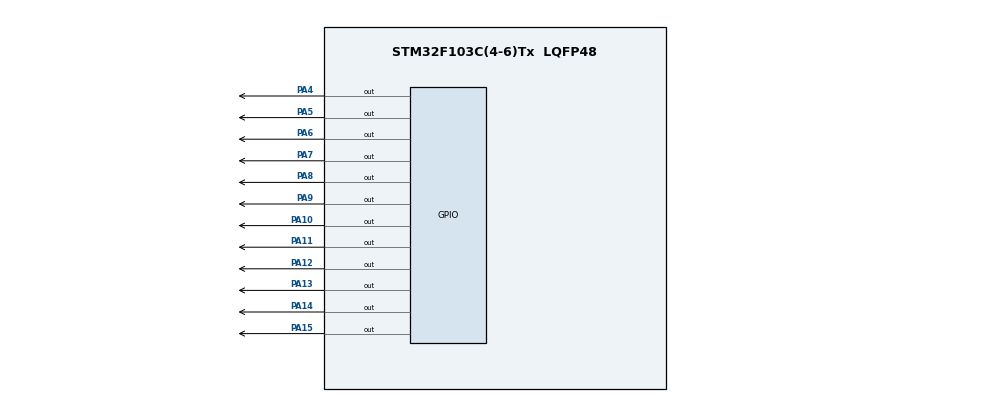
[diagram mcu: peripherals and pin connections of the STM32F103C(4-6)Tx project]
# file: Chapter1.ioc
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Mcu.Family=STM32F1
Mcu.Name=STM32F103C(4-6)Tx
Mcu.Package=LQFP48
NVIC.PriorityGroup=NVIC_PRIORITYGROUP_4
PA10.Signal=GPIO_Output
PA11.Signal=GPIO_Output
PA12.Signal=GPIO_Output
PA13.Signal=GPIO_Output
PA14.Signal=GPIO_Output
PA15.Signal=GPIO_Output
PA4.Signal=GPIO_Output
PA5.Signal=GPIO_Output
PA6.Signal=GPIO_Output
PA7.Signal=GPIO_Output
PA8.Signal=GPIO_Output
PA9.Signal=GPIO_Output
ProjectManager.HeapSize=0x200
ProjectManager.StackSize=0x400
ProjectManager.TargetToolchain=STM32CubeIDE
RCC.APB1Freq_Value=8000000
RCC.APB2Freq_Value=8000000
VP_SYS_VS_ND.Mode=No_Debug
board=custom

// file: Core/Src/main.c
/* USER CODE BEGIN Header */
/**
  ******************************************************************************
  * @file           : main.c
  * @brief          : Main program body
  ******************************************************************************
  * @attention
  *
  * <h2><center>&copy; Copyright (c) 2021 STMicroelectronics.
  * All rights reserved.</center></h2>
  *
  * This software component is licensed by ST under BSD 3-Clause license,
  * the "License"; You may not use this file except in compliance with the
  * License. You may obtain a copy of the License at:
  *                        opensource.org/licenses/BSD-3-Clause
  *
  ******************************************************************************
  */
/* USER CODE END Header */
#include "main.h"

/* USER CODE BEGIN PV */
int matrix[7][5] = {0};
int led[12][2] = {{1,2}, {1,3}, {2,4}, {3,4}, {4,4}, {5,3}, {5,2}, {5,1}, {4,0}, {3,0}, {2,0}, {1,1}};
uint16_t col5[] = {GPIO_PIN_4, GPIO_PIN_5, GPIO_PIN_6, GPIO_PIN_7, GPIO_PIN_8};
uint16_t row7[] = {GPIO_PIN_9, GPIO_PIN_10, GPIO_PIN_11, GPIO_PIN_12, GPIO_PIN_13, GPIO_PIN_14, GPIO_PIN_15};
/* USER CODE END PV */

void SystemClock_Config(void);
static void MX_GPIO_Init(void);
/* USER CODE BEGIN PFP */
void clearMatrix(void);
void setClock(void);
void ledScan(void);
/* USER CODE END PFP */

int main(void)
{

  /* MCU Configuration--------------------------------------------------------*/

  /* Reset of all peripherals, Initializes the Flash interface and the Systick. */
  HAL_Init();

  /* Configure the system clock */
  SystemClock_Config();

  /* Initialize all configured peripherals */
  MX_GPIO_Init();

  /* Infinite loop */
  /* USER CODE BEGIN WHILE */
  clearMatrix();
  while (1)
  {
//	if(HAL_GetTick() - millis > 1000) {
//		millis = HAL_GetTick();
//		HAL_GPIO_TogglePin(GPIOA, GPIO_PIN_4);
//	}
	  setClock();
	  ledScan();
    /* USER CODE END WHILE */

  }
}

void SystemClock_Config(void)
{
  RCC_OscInitTypeDef RCC_OscInitStruct = {0};
  RCC_ClkInitTypeDef RCC_ClkInitStruct = {0};

  /** Initializes the RCC Oscillators according to the specified parameters
  * in the RCC_OscInitTypeDef structure.
  */
  RCC_OscInitStruct.OscillatorType = RCC_OSCILLATORTYPE_HSI;
  RCC_OscInitStruct.HSIState = RCC_HSI_ON;
  RCC_OscInitStruct.HSICalibrationValue = RCC_HSICALIBRATION_DEFAULT;
  RCC_OscInitStruct.PLL.PLLState = RCC_PLL_NONE;
  if (HAL_RCC_OscConfig(&RCC_OscInitStruct) != HAL_OK)
  {
    Error_Handler();
  }
  /** Initializes the CPU, AHB and APB buses clocks
  */
  RCC_ClkInitStruct.ClockType = RCC_CLOCKTYPE_HCLK|RCC_CLOCKTYPE_SYSCLK
                              |RCC_CLOCKTYPE_PCLK1|RCC_CLOCKTYPE_PCLK2;
  RCC_ClkInitStruct.SYSCLKSource = RCC_SYSCLKSOURCE_HSI;
  RCC_ClkInitStruct.AHBCLKDivider = RCC_SYSCLK_DIV1;
  RCC_ClkInitStruct.APB1CLKDivider = RCC_HCLK_DIV1;
  RCC_ClkInitStruct.APB2CLKDivider = RCC_HCLK_DIV1;

  if (HAL_RCC_ClockConfig(&RCC_ClkInitStruct, FLASH_LATENCY_0) != HAL_OK)
  {
    Error_Handler();
  }
}

static void MX_GPIO_Init(void)
{
  GPIO_InitTypeDef GPIO_InitStruct = {0};

  /* GPIO Ports Clock Enable */
  __HAL_RCC_GPIOA_CLK_ENABLE();

  /*Configure GPIO pin Output Level */
  HAL_GPIO_WritePin(GPIOA, GPIO_PIN_4|GPIO_PIN_5|GPIO_PIN_6|GPIO_PIN_7
                          |GPIO_PIN_8|GPIO_PIN_9|GPIO_PIN_10|GPIO_PIN_11
                          |GPIO_PIN_12|GPIO_PIN_13|GPIO_PIN_14|GPIO_PIN_15, GPIO_PIN_RESET);

  /*Configure GPIO pins : PA4 PA5 PA6 PA7
                           PA8 PA9 PA10 PA11
                           PA12 PA13 PA14 PA15 */
  GPIO_InitStruct.Pin = GPIO_PIN_4|GPIO_PIN_5|GPIO_PIN_6|GPIO_PIN_7
                          |GPIO_PIN_8|GPIO_PIN_9|GPIO_PIN_10|GPIO_PIN_11
                          |GPIO_PIN_12|GPIO_PIN_13|GPIO_PIN_14|GPIO_PIN_15;
  GPIO_InitStruct.Mode = GPIO_MODE_OUTPUT_PP;
  GPIO_InitStruct.Pull = GPIO_NOPULL;
  GPIO_InitStruct.Speed = GPIO_SPEED_FREQ_LOW;
  HAL_GPIO_Init(GPIOA, &GPIO_InitStruct);

}

/* USER CODE BEGIN 4 */
void clearMatrix() {
	for(int i = 0; i < 7; i++) {
		for(int j = 0; j < 5; j++) {
			matrix[i][j] = 0;
		}
	}
}
void ledScan() {
/*
	HAL_GPIO_WritePin(GPIOA, GPIO_PIN_4 | GPIO_PIN_5 | GPIO_PIN_6 | GPIO_PIN_7 | GPIO_PIN_8, 0);
	HAL_GPIO_WritePin(GPIOA, GPIO_PIN_9 | GPIO_PIN_10 | GPIO_PIN_11 | GPIO_PIN_12 | GPIO_PIN_13 | GPIO_PIN_14 | GPIO_PIN_15, 1);

	for(int col = 0; col < 5; col ++) {
		HAL_GPIO_WritePin(GPIOA, col5[col], 1);
		for(int row = 0; row < 7; row++) {
			if(matrix[row][col]) {
				HAL_GPIO_WritePin(GPIOA, row7[row], 0);
			}
		}
		HAL_Delay(10);
		HAL_GPIO_WritePin(GPIOA, GPIO_PIN_4 | GPIO_PIN_5 | GPIO_PIN_6 | GPIO_PIN_7 | GPIO_PIN_8, 0);
		HAL_GPIO_WritePin(GPIOA, GPIO_PIN_9 | GPIO_PIN_10 | GPIO_PIN_11 | GPIO_PIN_12 | GPIO_PIN_13 | GPIO_PIN_14 | GPIO_PIN_15, 1);
	}
*/
	static int col = 0;
	static int row = 0;
	static long long time = -10;

	if(HAL_GetTick() - time >= 5) {
		HAL_GPIO_WritePin(GPIOA, GPIO_PIN_4 | GPIO_PIN_5 | GPIO_PIN_6 | GPIO_PIN_7 | GPIO_PIN_8, 0);
		HAL_GPIO_WritePin(GPIOA, GPIO_PIN_9 | GPIO_PIN_10 | GPIO_PIN_11 | GPIO_PIN_12 | GPIO_PIN_13 | GPIO_PIN_14 | GPIO_PIN_15, 1);

		HAL_GPIO_WritePin(GPIOA, col5[col], 1);
		for(row = 0; row < 7; row++) {
			if(matrix[row][col]) {
				HAL_GPIO_WritePin(GPIOA, row7[row], 0);
			}
		}

		col = (col < 4)? col+1:0;
		time = HAL_GetTick();
	}
}
void setClock() {
	static int second = 11;
	static int minute = 11;
	static int hour = 11;
	static long long time = 0;

	if(HAL_GetTick() - time >= 500) {
		time = HAL_GetTick();

		second = (second==11)? 0:second+1;
		if(second == 0) {
			minute = (minute==11)? 0:minute+1;
			if(minute == 0) {
				hour = (hour==11)? 0:hour+1;
			}
		}

		clearMatrix();
		matrix[led[second][0]][led[second][1]] = 1;
		matrix[led[minute][0]][led[minute][1]] = 1;
		matrix[led[hour][0]][led[hour][1]] = 1;
	}
}
/* USER CODE END 4 */

void Error_Handler(void)
{
  __disable_irq();
  while (1)
  {
  }
}

/************************ (C) COPYRIGHT STMicroelectronics *****END OF FILE****/
